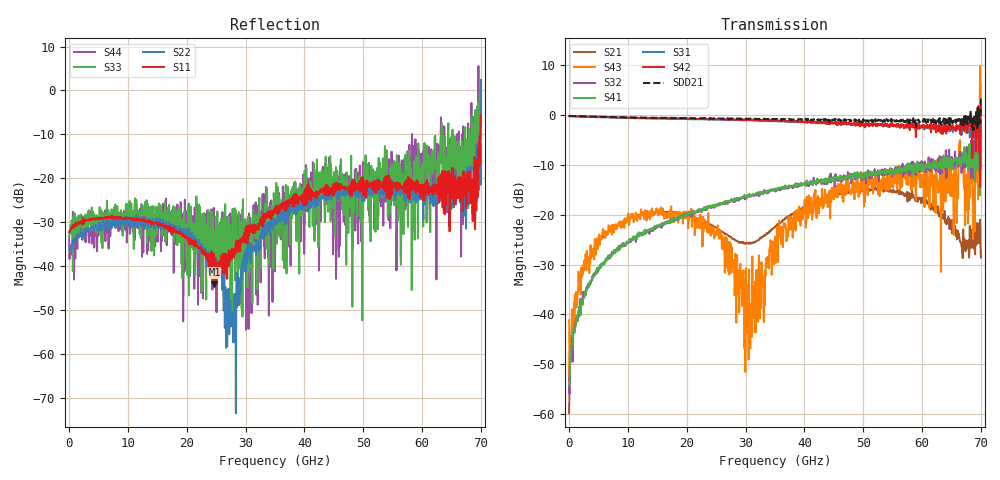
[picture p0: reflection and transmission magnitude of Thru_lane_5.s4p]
!Pstart = -2.000000E+001
!Pstop = -1.000000E+001
!Pstep = 2.564103E-001
! 4/30/2026 1:59:22 PM
! C:\ANRITSUVNA\TEMP\TEMP.S4P
! CHANNEL.1
! TR.MEASUREMENT
! CORRECTED.DATA
! RF.CORRECTION: FULL.FOUR.PORT.CAL.PORT.1.2.3.4
! AVERAGING.OFF
! IF.BANDWIDTH: 100HZ
! SWEEPTYPE:  FREQ.SWEEP(Linear)
! Reference Plane Port Info
! DISTANCE:  0  m  0  m  0  m  0  m
! TIME:  0  s  0  s  0  s  0  s
! PHASE.OFFSET:  0 °  0 °  0 °  0 °
! LOSS:  0  dB  0  dB  0  dB  0  dB
! REF.LOSS:  0  dB  0  dB  0  dB  0  dB
! REF.FREQ:  0  Hz  0  Hz  0  Hz  0  Hz
! Power Info
! POWER:  -20  dBm  -20  dBm  -20  dBm  -20  dBm
! EFF.POWER:  -20  dBm  -20  dBm  -40  dBm  -40  dBm
! SOURCE.ATTEN:  0  dB  0  dB  20  dB  20  dB
! TEST.ATTEN:  0  dB  0  dB  20  dB  20  dB
! Created with skrf 1.9.0 (http://scikit-rf.org).
# Hz S RI R 50.0
!freq ReS11 ImS11 ReS12 ImS12 ReS13 ImS13
! ReS14 ImS14
! ReS21 ImS21 ReS22 ImS22 ReS23 ImS23
! ReS24 ImS24
! ReS31 ImS31 ReS32 ImS32 ReS33 ImS33
! ReS34 ImS34
! ReS41 ImS41 ReS42 ImS42 ReS43 ImS43
! ReS44 ImS44
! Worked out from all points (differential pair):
!   1001 points, 10 MHz to 70 GHz, reference 50 ohm
!   strongest paths, dB at 10 MHz, 17.51 GHz, 35.01 GHz, 52.5 GHz, 70 GHz:
!     S42: -0.1, -0.7, -1.1, -1.9, 1.8
!     S31: -0.2, -0.7, -1.1, -2.0, -1.4
!     S41: -54.2, -21.3, -14.7, -11.9, -4.5
!     S32: -54.5, -21.0, -15.2, -11.0, -1.2
!     S43: -41.1, -19.9, -24.4, -15.9, -4.6
!     S21: -59.8, -19.5, -22.4, -14.8, -28.6
!   taken as a pair (ports 2,1 in; 4,3 out), SDD21 dB: -0.2, -0.6, -0.8, -1.0, 3.6
!   lowest |S11| = -44.1 dB at 24.72 GHz (marker M1), VSWR 1.01, Z = 49.8 - j0.59 ohm
!   |S11| at or under -10 dB: start of sweep to 69.89 GHz
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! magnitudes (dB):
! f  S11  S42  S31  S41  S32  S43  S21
! 10 MHz  -32.2  -0.1  -0.2  -54.2  -54.5  -41.1  -59.8
! 5.749 GHz  -29.0  -0.3  -0.4  -29.6  -29.9  -22.8  -24.5
! 24.72 GHz  -44.1  -0.7  -0.9  -18.0  -18.4  -23.3  -22.4
! 30.74 GHz  -32.2  -0.9  -1.0  -16.0  -16.3  -43.6  -25.6
! 45.99 GHz  -21.2  -1.5  -1.7  -12.3  -12.8  -14.4  -15.6
! 68.88 GHz  -18.1  -1.6  -1.8  -8.3  -9.7  -18.9  -24.4
! 70 GHz  -5.5  1.8  -1.4  -4.5  -1.2  -4.6  -28.6
